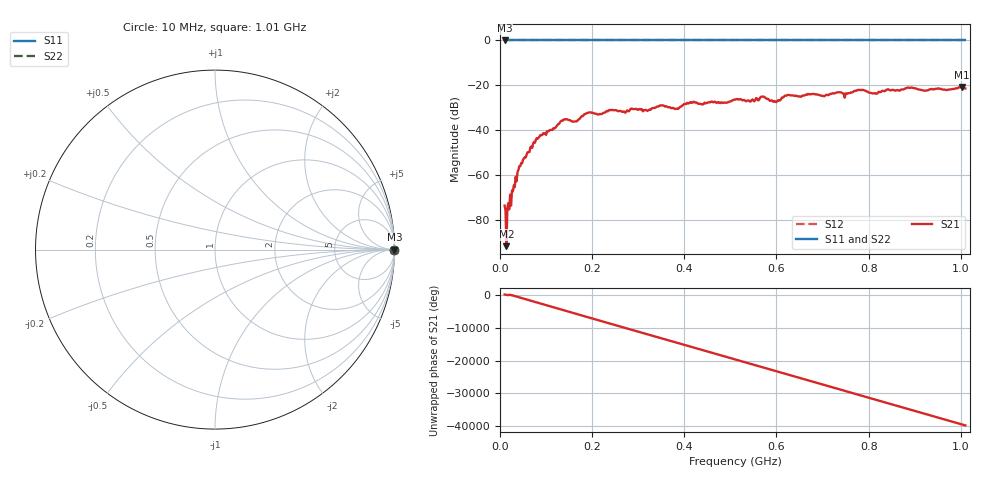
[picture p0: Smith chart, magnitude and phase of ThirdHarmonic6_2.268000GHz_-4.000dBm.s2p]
! 8/17/2025 2:50:51 AM
! C:\ANRITSUVNA\TEMP\TEMP.S2P
! CHANNEL.1
! TR.MEASUREMENT
! RAW.DATA
! RF.CORRECTION.OFF
! AVERAGING.OFF
! IF.BANDWIDTH: 5KHZ
! SWEEPTYPE:  FREQ.SWEEP(Linear)
! Reference Plane Port Info
! PORT:  PORT1  PORT2
! DISTANCE:  0  m  0  m
! TIME:  0  s  0  s
! PHASE.OFFSET:  0  deg.  0  deg.
! LOSS:  0  dB  0  dB
! REF.LOSS:  0  dB  0  dB
! REF.FREQ:  0  Hz  0  Hz
! Power Info
! POWER:  -20  dBm  -20  dBm
! EFF.POWER:  -20  dBm  -20  dBm
! SOURCE.ATTEN:  0  dB  0  dB
! TEST.ATTEN:  0  dB  0  dB
# GHZ S RI R 50.0
! FREQ.GHZ  S11RE  S11IM  S21RE  S21IM  S12RE  S12IM  S22RE  S22IM
!; PortSelection: Port_12
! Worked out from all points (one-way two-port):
!   501 points, 10 MHz to 1.01 GHz, reference 50 ohm
!   highest |S21| = -20.71 dB at 1.002 GHz (marker M1); lowest = -91.6 dB at 14 MHz (marker M2)
!   lowest |S11| = 0.0 dB at 10 MHz (marker M3)
!   |S11| at or under -10 dB: nowhere
!   |S22| runs from 0.0 to 0.0 dB; largest |S21 - S12| = 1.1
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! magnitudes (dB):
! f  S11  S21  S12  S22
! 10 MHz  0.0  -73.5  0.0  0.0
! 14 MHz  0.0  -91.6  0.0  0.0
! 16 MHz  0.0  -74.8  0.0  0.0
! 42 MHz  0.0  -56.0  0.0  0.0
! 76 MHz  0.0  -45.5  0.0  0.0
! 136 MHz  0.0  -35.7  0.0  0.0
! 164 MHz  0.0  -36.0  0.0  0.0
! 178 MHz  0.0  -33.7  0.0  0.0
! 344 MHz  0.0  -29.4  0.0  0.0
! 384 MHz  0.0  -30.3  0.0  0.0
! 416 MHz  0.0  -27.8  0.0  0.0
! 510 MHz  0.0  -26.3  0.0  0.0
! 570 MHz  0.0  -25.0  0.0  0.0
! 596 MHz  0.0  -27.0  0.0  0.0
! 622 MHz  0.0  -24.6  0.0  0.0
! 678 MHz  0.0  -23.9  0.0  0.0
! 750 MHz  0.0  -23.6  0.0  0.0
! 784 MHz  0.0  -22.1  0.0  0.0
! 814 MHz  0.0  -23.5  0.0  0.0
! 844 MHz  0.0  -21.9  0.0  0.0
! 1.002 GHz  0.0  -20.7  0.0  0.0
! 1.01 GHz  0.0  -21.4  0.0  0.0
